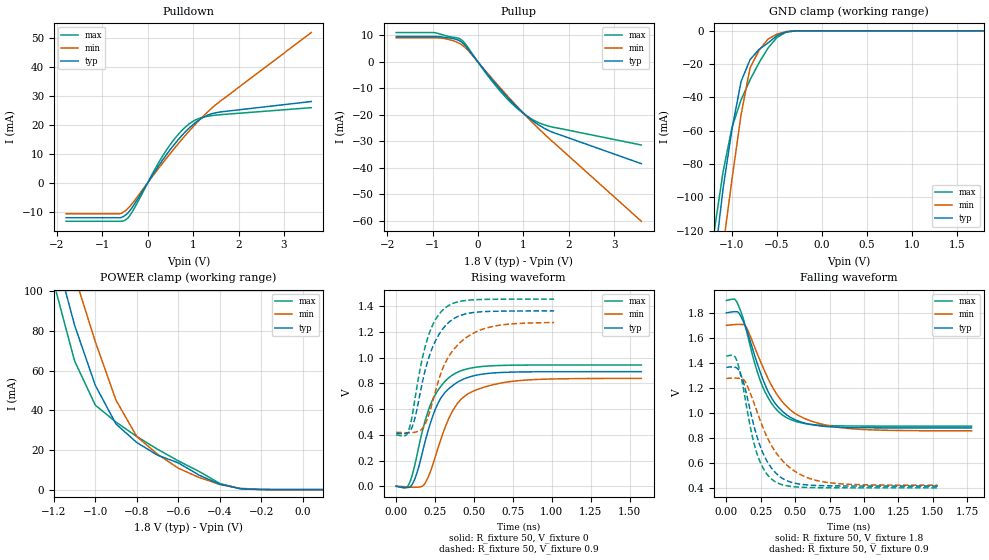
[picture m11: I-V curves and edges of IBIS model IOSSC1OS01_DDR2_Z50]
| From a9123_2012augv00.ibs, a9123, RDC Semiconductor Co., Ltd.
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[Model]   IOSSC1OS01_DDR2_Z50
|   IOSSC1OS01_DDR2_Z50  MODEL
|   DATE   :  2009/9/1 ;
|   REVISION :  0.1.1 ;
|   Model generated   Tue Sep  1 16:54:51 2009
Model_type  3-state
Polarity   Non-Inverting
Enable   Active-Low
| Signals
Vmeas = 0.9
| variable   typ   min   max
C_comp   3.0776pf   2.7372pf   3.9414pf
[Model Spec]
|   Subparameter   typ   min   max
Vmeas   0.900   0.850   0.950
[Temperature Range]   25   125   -40
|   typ   min   max
[Voltage Range]   1.8V   1.7V   1.9V
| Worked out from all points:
|   slope of the pulldown table from 0 to 0.27 V, typ, clamps not added: 41.2 ohm
|   slope of the pullup table from 0 to 0.27 V, typ, clamps not added: 46.2 ohm
|   GND clamp passes 1 mA (typ) near -0.42 V on its own axis
|   POWER clamp passes 1 mA (typ) near -0.32 V on its own axis
|   rising waveform, R_fixture 50, V_fixture 0: 20-80 % time 152ps typ, 178ps min, 149ps max; typ from 0 V to 0.891 V
|   falling waveform, R_fixture 50, V_fixture 1.8: 20-80 % time 202ps typ, 260ps min, 181ps max; typ from 1.8 V to 0.88 V
|   rising waveform, R_fixture 50, V_fixture 0.9: 20-80 % time 137ps typ, 181ps min, 119ps max; typ from 0.413 V to 1.36 V
|   falling waveform, R_fixture 50, V_fixture 0.9: 20-80 % time 159ps typ, 239ps min, 129ps max; typ from 1.36 V to 0.414 V
[Pulldown]
|   Voltage   I(typ)   I(min)   I(max)
-1.8V     -12.14mA   -10.75mA   -13.38mA
-600mV    -12.14mA   -10.75mA   -13.38mA
-480mV    -11.09mA   -9.513mA   -12.8mA
-400mV    -9.793mA   -8.296mA   -11.5mA
-320mV    -8.02mA    -6.765mA   -9.509mA
200mV     4.918mA    4.182mA    5.887mA
480mV     11.15mA    9.817mA    12.87mA
800mV     17.14mA    15.87mA    18.83mA
1.08V     21.14mA    20.74mA    21.91mA
1.28V     23.09mA    23.91mA    22.86mA
1.52V     24.26mA    27.27mA    23.4mA
3.6V      28.08mA    51.95mA    25.95mA
[GND Clamp]
|   Voltage   I(typ)   I(min)   I(max)
-1.8V     -450mA     -480mA     -420mA
-1.2V     -140.9mA   -175.9mA   -120.9mA
-1.1V     -94.77mA   -129.8mA   -84.77mA
-1V       -58.82mA   -88.82mA   -57.82mA
-900mV    -30.53mA   -50.53mA   -41.53mA
-800mV    -17.35mA   -22.35mA   -29.48mA
-700mV    -11.13mA   -11.7mA    -19.21mA
-600mV    -7.283mA   -5.004mA   -10.38mA
-500mV    -2.899mA   -1.948mA   -3.955mA
-400mV    -644.1uA   -458uA     -833.8uA
-300mV    -60.46uA   -61.65uA   -63.44uA
1.8V      0A         0A         0A
[Pullup]
|   Voltage   I(typ)   I(min)   I(max)
|( VDD-Vmeas )
-1.8V     9.604mA    9.137mA    11.09mA
-960mV    9.604mA    9.137mA    11.09mA
-800mV    9.432mA    8.979mA    10.35mA
-480mV    8.538mA    7.586mA    9.168mA
-320mV    6.917mA    6.028mA    7.696mA
200mV     -4.373mA   -4.034mA   -4.782mA
520mV     -10.88mA   -10.33mA   -11.57mA
880mV     -17.34mA   -17.11mA   -17.76mA
1.2V      -22.07mA   -22.82mA   -21.72mA
1.44V     -24.83mA   -26.85mA   -23.6mA
1.64V     -26.5mA    -29.99mA   -24.56mA
3.6V      -38.39mA   -60.14mA   -31.35mA
[POWER Clamp]
|   Voltage   I(typ)   I(min)   I(max)
|( VDD-Vmeas )
-1.8V     400mA      425mA      382mA
-1.2V     122.3mA    147.3mA    104.3mA
-1.1V     82.94mA    107.9mA    64.94mA
-1V       52.6mA     74.6mA     42.6mA
-900mV    33.04mA    45.04mA    34.04mA
-800mV    23.77mA    26.77mA    26.77mA
-700mV    17.35mA    17.85mA    20.35mA
-600mV    13.5mA     10.81mA    14.5mA
-500mV    7.315mA    6.131mA    9.175mA
-400mV    2.711mA    2.613mA    3.098mA
-300mV    444.6uA    639.1uA    369.4uA
100mV     0A         0A         0A
[Rising Waveform]
R_fixture = 50
V_fixture = 0
V_fixture_min = 0
V_fixture_max = 0
C_fixture = 0
L_fixture = 0
|   Time   V(typ)   V(min)   V(max)
0s        -312.1uV   1.025mV    692.7uV
64ps      -9.738mV   -3.92mV    -10.13mV
88ps      -5.184mV   -6.113mV   34.31mV
128ps     84.27mV    -6.768mV   211mV
184ps     339.2mV    21.58mV    500.4mV
272ps     652.6mV    309.4mV    751.9mV
392ps     807.3mV    640.5mV    885mV
504ps     860.3mV    744.3mV    923.7mV
736ps     887.1mV    814.3mV    940.7mV
1.576ns   890.7mV    838.5mV    942.8mV
[Falling Waveform]
R_fixture = 50
V_fixture = 1.8
V_fixture_min = 1.7
V_fixture_max = 1.9
C_fixture = 0
L_fixture = 0
|   Time   V(typ)   V(min)   V(max)
0s        1.801V     1.701V     1.9V
72ps      1.81V      1.708V     1.896V
144ps     1.674V     1.687V     1.668V
207ps     1.455V     1.523V     1.396V
270ps     1.256V     1.356V     1.194V
342ps     1.097V     1.194V     1.056V
441ps     982.7mV    1.048V     960.5mV
594ps     911.5mV    943.7mV    910.7mV
837ps     884.3mV    881mV      895.6mV
1.782ns   879.7mV    856.1mV    893.9mV
[Rising Waveform]
R_fixture = 50
V_fixture = 0.9
V_fixture_min = 0.85
V_fixture_max = 0.95
C_fixture = 0
L_fixture = 0
|   Time   V(typ)   V(min)   V(max)
0s        412.6mV    419.9mV    399.9mV
56ps      409mV      416.8mV    393.1mV
84ps      423.3mV    416.3mV    448.9mV
119ps     524.3mV    420.2mV    667.2mV
175ps     845.1mV    459.2mV    1.031V
231ps     1.072V     643.8mV    1.244V
308ps     1.236V     940.8mV    1.379V
406ps     1.324V     1.111V     1.436V
539ps     1.355V     1.213V     1.451V
1.015ns   1.363V     1.272V     1.454V
[Falling Waveform]
R_fixture = 50
V_fixture = 0.9
V_fixture_min = 0.85
V_fixture_max = 0.95
C_fixture = 0
L_fixture = 0
|   Time   V(typ)   V(min)   V(max)
0s        1.364V     1.276V     1.455V
72ps      1.362V     1.279V     1.43V
136ps     1.198V     1.253V     1.12V
184ps     970.8mV    1.129V     836mV
232ps     778.1mV    982.8mV    644.9mV
288ps     629.1mV    825.9mV    520.8mV
352ps     526.8mV    696.4mV    451.1mV
496ps     437.4mV    533.7mV    408mV
696ps     417.1mV    449.2mV    400.7mV
1.536ns   413.6mV    420.2mV    399.6mV
[Ramp]
| variables   typ   min   max
dV/dt_r   0.53443/152.016p 0.503135/177.879p 0.565668/149.437p
dV/dt_f   0.552222/202.139p 0.506424/260.429p 0.603714/181.099p
R_load   = 50.000000 | Ohms
| [End Model]
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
